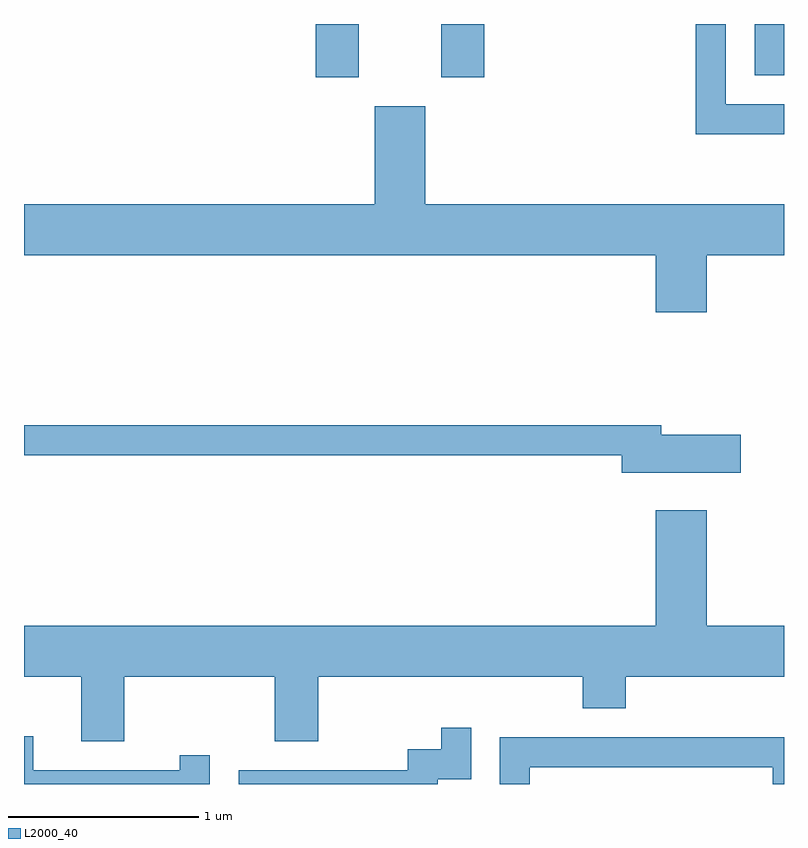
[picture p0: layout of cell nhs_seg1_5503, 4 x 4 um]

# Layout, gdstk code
import gdstk
lib = gdstk.Library(unit=1e-6, precision=1e-09)
def R(c, l, rs):  # rectangles x0, y0, x1, y1
    for r in rs: c.add(gdstk.rectangle(r[:2], r[2:], *l))
def P(c, l, *ps):  # polygons
    for p in ps: c.add(gdstk.Polygon(p, *l))
L2000_40 = (2000, 40)

nhs_seg1_5503 = lib.new_cell('nhs_seg1_5503')
R(nhs_seg1_5503, L2000_40, [(353.146,869.431,353.374,869.712), (353.806,869.431,354.034,869.712), (355.456,869.441,355.611,869.712)])
P(nhs_seg1_5503, L2000_40, [(355.611,869.289),(355.304,869.289),(355.304,869.712),(355.146,869.712),(355.146,869.131),(355.611,869.131)],
  [(355.204,868.496),(355.611,868.496),(355.611,868.764),(353.724,868.764),(353.724,869.279),(353.456,869.279),(353.456,868.764),(351.611,868.764),(351.611,868.496),(354.936,868.496),(354.936,868.196),(355.204,868.196)],
  [(355.384,867.549),(354.964,867.549),(354.964,867.599),(351.611,867.599),(351.611,867.441),(354.756,867.441),(354.756,867.351),(355.384,867.351)],
  [(352.139,866.276),(352.931,866.276),(352.931,865.936),(353.159,865.936),(353.159,866.276),(354.551,866.276),(354.551,866.111),(354.779,866.111),(354.779,866.276),(355.611,866.276),(355.611,866.544),(355.204,866.544),(355.204,867.154),(354.936,867.154),(354.936,866.544),(351.611,866.544),(351.611,866.276),(351.911,866.276),(351.911,865.936),(352.139,865.936)],
  [(353.789,865.736),(353.964,865.736),(353.964,866.008),(353.806,866.008),(353.806,865.894),(353.631,865.894),(353.631,865.784),(352.741,865.784),(352.741,865.712),(353.789,865.712)],
  [(352.589,865.863),(352.431,865.863),(352.431,865.784),(351.659,865.784),(351.659,865.963),(351.611,865.963),(351.611,865.712),(352.589,865.712)],
  [(354.274,865.801),(355.551,865.801),(355.551,865.712),(355.611,865.712),(355.611,865.959),(354.116,865.959),(354.116,865.712),(354.274,865.712)])

lib.write_gds('nhs_seg1_5503.gds')
